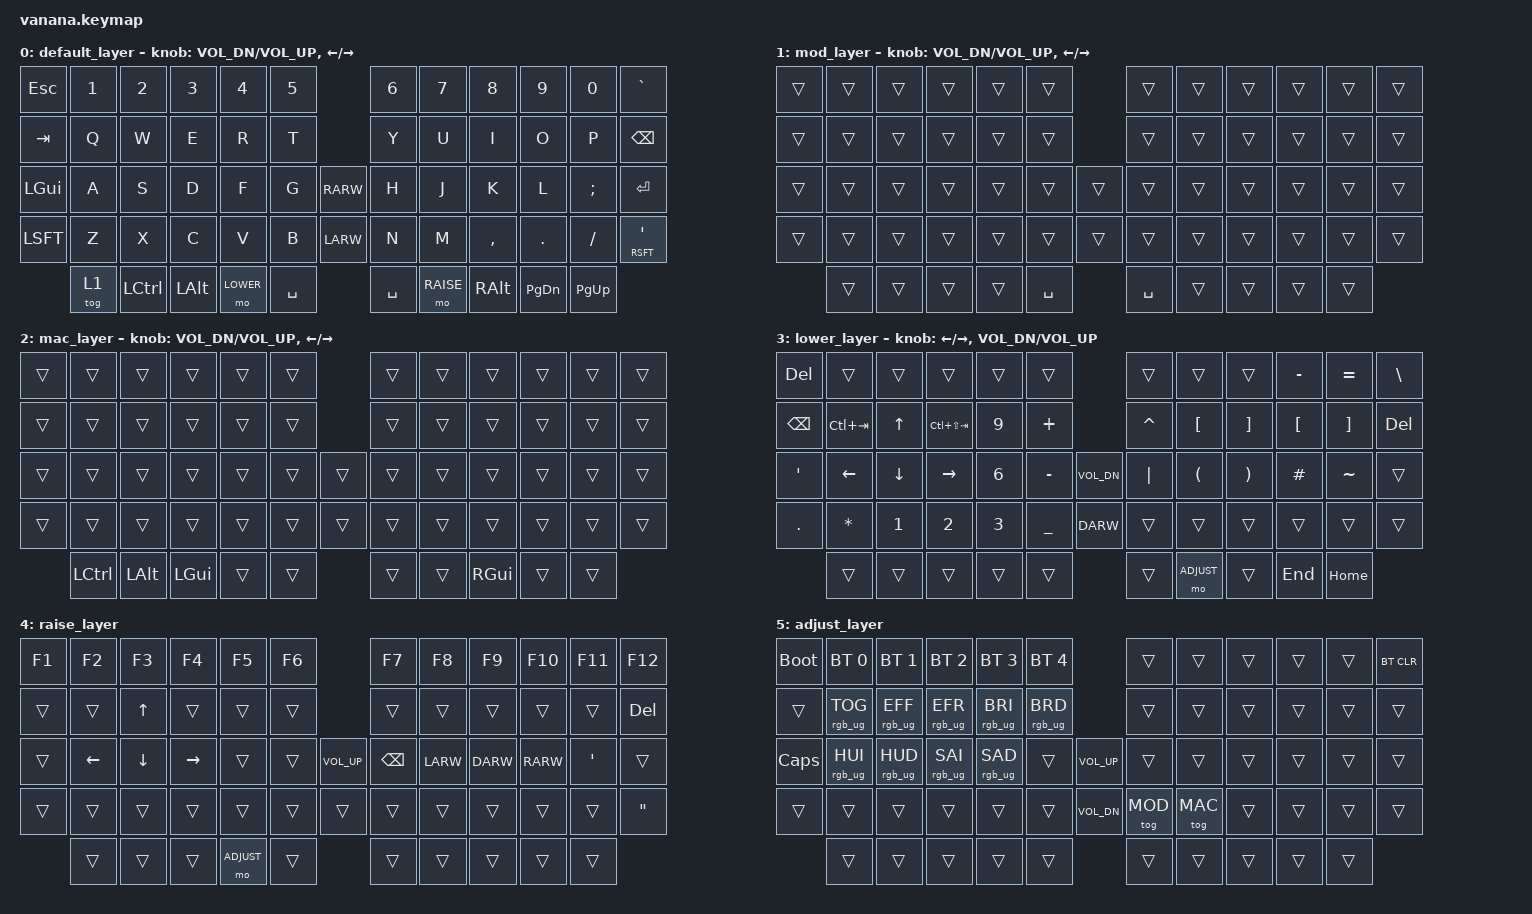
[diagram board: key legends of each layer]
/*
 * Copyright (c) 2020 dELLIKEEb
 *
 * SPDX-License-Identifier: MIT
 */

#include <behaviors.dtsi>
#include <dt-bindings/zmk/keys.h>
#include <dt-bindings/zmk/bt.h>
#include <dt-bindings/zmk/rgb.h>

// custom keycode defs for easier access
#define DEFAULT 0
#define MOD     1
#define MAC     2
#define LOWER   3
#define RAISE   4
#define ADJUST  5

/ {
    keymap {
        compatible = "zmk,keymap";

        default_layer {
            bindings = <
               &kp ESC    &kp N1      &kp N2      &kp N3      &kp N4    &kp N5                    &kp N6      &kp N7      &kp N8      &kp N9      &kp N0      &kp GRAVE
                &kp TAB     &kp Q       &kp W       &kp E       &kp R     &kp T                     &kp Y       &kp U       &kp I       &kp O       &kp P       &kp BKSP
                &kp LGUI     &kp A       &kp S       &kp D       &kp F     &kp G         &kp RARW    &kp H       &kp J       &kp K       &kp L       &kp SCLN    &kp RET
                &kp LSFT    &kp Z       &kp X       &kp C       &kp V     &kp B         &kp LARW    &kp N       &kp M       &kp CMMA    &kp DOT     &kp FSLH    &mt RSFT SQT
                            &tog 1   &kp LCTRL    &kp LALT    &mo LOWER &kp SPC                   &kp SPC     &mo RAISE   &kp RALT    &kp PAGE_DOWN    &kp PG_UP
            >;
            sensor-bindings = <&inc_dec_kp C_VOL_DN C_VOL_UP &inc_dec_kp LEFT RIGHT>;
        };

        mod_layer {
            bindings = <
                &trans      &trans      &trans      &trans      &trans      &trans                  &trans      &trans      &trans      &trans      &trans      &trans  
                &trans      &trans      &trans      &trans      &trans      &trans                  &trans      &trans      &trans      &trans      &trans      &trans
                &trans      &trans      &trans      &trans      &trans      &trans      &trans      &trans      &trans      &trans      &trans      &trans      &trans
                &trans      &trans      &trans      &trans      &trans      &trans      &trans      &trans      &trans      &trans      &trans      &trans      &trans 
                            &trans      &trans      &trans      &trans      &kp SPC                 &kp SPC     &trans      &trans      &trans      &trans
            >;
            sensor-bindings = <&inc_dec_kp C_VOL_DN C_VOL_UP &inc_dec_kp LEFT RIGHT>;
        };

        mac_layer {
            bindings = <
                &trans      &trans      &trans      &trans      &trans      &trans                  &trans      &trans      &trans      &trans      &trans      &trans  
                &trans      &trans      &trans      &trans      &trans      &trans                  &trans      &trans      &trans      &trans      &trans      &trans
                &trans      &trans      &trans      &trans      &trans      &trans      &trans      &trans      &trans      &trans      &trans      &trans      &trans
                &trans      &trans      &trans      &trans      &trans      &trans      &trans      &trans      &trans      &trans      &trans      &trans      &trans 
                            &kp LCTL    &kp LALT    &kp LGUI    &trans      &trans                  &trans      &trans      &kp RGUI    &trans      &trans
            >;
            sensor-bindings = <&inc_dec_kp C_VOL_DN C_VOL_UP &inc_dec_kp LEFT RIGHT>;
        };

        lower_layer {
            bindings = <
               &kp DEL     &trans    &trans     &trans      &trans      &trans                &trans     &trans      &trans      &kp MINUS      &kp EQUAL     &kp BACKSLASH  
                &kp BKSP    &kp LC(TAB)   &kp UP   &kp LC(LS(TAB))   &kp NUM_9   &kp PLUS                &kp CARET   &kp LBKT    &kp RBKT    &kp LEFT_BRACKET      &kp RIGHT_BRACKET    &kp DELETE
                &kp SQT   &kp LEFT   &kp DOWN   &kp RIGHT   &kp NUM_6   &kp MINUS   &kp C_VOL_DN    &kp PIPE    &kp LPAR    &kp RPAR    &kp HASH    &kp TILDE   &trans
                &kp DOT     &kp STAR    &kp NUM_1   &kp NUM_2   &kp NUM_3   &kp UNDER   &kp DARW    &trans    &trans    &trans   &trans    &trans   &trans
                            &trans      &trans      &trans      &trans      &trans                  &trans      &mo ADJUST  &trans      &kp END      &kp HOME
            >;
            sensor-bindings = <&inc_dec_kp LEFT RIGHT &inc_dec_kp C_VOL_DN C_VOL_UP>;
        };

        raise_layer {
            bindings = <
                &kp F1      &kp F2     &kp F3     &kp F4      &kp F5                      &kp F6     &kp F7      &kp F8      &kp F9      &kp F10      &kp F11  &kp F12
                &trans      &trans      &kp UP      &trans      &trans      &trans                      &trans      &trans    &trans    &trans    &trans     &kp DELETE
                &trans      &kp LEFT    &kp DOWN    &kp RIGHT   &trans   &trans      &kp C_VOL_UP    &kp BSPC    &kp LARW    &kp DARW    &kp RARW    &kp APOS    &trans 
                &trans      &trans      &trans      &trans      &trans      &trans      &trans       &trans      &trans      &trans      &trans      &trans      &kp DQT 
                            &trans      &trans      &trans      &mo ADJUST  &trans                      &trans      &trans      &trans      &trans      &trans
            >;
            
        };
        
        adjust_layer {
            bindings = <
                &bootloader &bt BT_SEL 0    &bt BT_SEL 1    &bt BT_SEL 2    &bt BT_SEL 3    &bt BT_SEL 4                    &trans      &trans      &trans      &trans      &trans      &bt BT_CLR        
                &trans      &rgb_ug RGB_TOG &rgb_ug RGB_EFF &rgb_ug RGB_EFR &rgb_ug RGB_BRI &rgb_ug RGB_BRD                 &trans      &trans      &trans      &trans      &trans      &trans
                &kp CAPS    &rgb_ug RGB_HUI &rgb_ug RGB_HUD &rgb_ug RGB_SAI &rgb_ug RGB_SAD &trans          &kp C_VOL_UP    &trans      &trans      &trans      &trans      &trans      &trans  
                &trans      &trans          &trans          &trans          &trans          &trans          &kp C_VOL_DN    &tog MOD    &tog MAC    &trans      &trans      &trans      &trans  
                            &trans          &trans          &trans          &trans          &trans                          &trans      &trans      &trans      &trans      &trans
            >;
        };

    };
};
